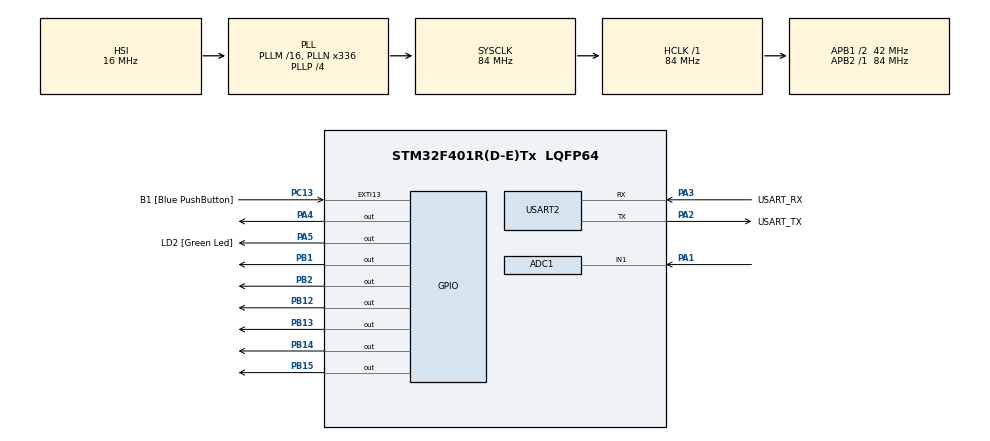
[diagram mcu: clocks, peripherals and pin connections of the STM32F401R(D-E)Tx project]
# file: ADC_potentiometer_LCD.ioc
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ADC1.Channel-0\#ChannelRegularConversion=ADC_CHANNEL_1
ADC1.DMAContinuousRequests=ENABLE
ADC1.ExternalTrigConv=ADC_EXTERNALTRIGCONV_T2_TRGO
ADC1.NbrOfConversionFlag=1
ADC1.Rank-0\#ChannelRegularConversion=1
ADC1.SamplingTime-0\#ChannelRegularConversion=ADC_SAMPLETIME_480CYCLES
ADC1.master=1
Dma.ADC1.0.Direction=DMA_PERIPH_TO_MEMORY
Dma.ADC1.0.FIFOMode=DMA_FIFOMODE_DISABLE
Dma.ADC1.0.Instance=DMA2_Stream0
Dma.ADC1.0.MemDataAlignment=DMA_MDATAALIGN_HALFWORD
Dma.ADC1.0.MemInc=DMA_MINC_ENABLE
Dma.ADC1.0.Mode=DMA_CIRCULAR
Dma.ADC1.0.PeriphDataAlignment=DMA_PDATAALIGN_HALFWORD
Dma.ADC1.0.PeriphInc=DMA_PINC_DISABLE
Dma.ADC1.0.Priority=DMA_PRIORITY_LOW
Dma.Request0=ADC1
Dma.Request1=USART2_TX
Dma.USART2_TX.1.Direction=DMA_MEMORY_TO_PERIPH
Dma.USART2_TX.1.FIFOMode=DMA_FIFOMODE_DISABLE
Dma.USART2_TX.1.Instance=DMA1_Stream6
Dma.USART2_TX.1.MemDataAlignment=DMA_MDATAALIGN_BYTE
Dma.USART2_TX.1.MemInc=DMA_MINC_ENABLE
Dma.USART2_TX.1.Mode=DMA_NORMAL
Dma.USART2_TX.1.PeriphDataAlignment=DMA_PDATAALIGN_BYTE
Dma.USART2_TX.1.PeriphInc=DMA_PINC_DISABLE
Dma.USART2_TX.1.Priority=DMA_PRIORITY_LOW
Mcu.Family=STM32F4
Mcu.Name=STM32F401R(D-E)Tx
Mcu.Package=LQFP64
NVIC.ADC_IRQn=true\:0\:0\:false\:false\:true\:true\:true\:true
NVIC.DMA1_Stream6_IRQn=true\:0\:0\:false\:false\:true\:false\:true\:true
NVIC.DMA2_Stream0_IRQn=true\:0\:0\:false\:false\:true\:false\:true\:true
NVIC.PriorityGroup=NVIC_PRIORITYGROUP_0
NVIC.USART2_IRQn=true\:0\:0\:false\:false\:true\:true\:true\:true
PA1.Signal=ADCx_IN1
PA13.GPIO_Label=TMS
PA13.Mode=Serial_Wire
PA13.Signal=SYS_JTMS-SWDIO
PA14.GPIO_Label=TCK
PA14.Mode=Serial_Wire
PA14.Signal=SYS_JTCK-SWCLK
PA2.GPIO_Label=USART_TX
PA2.GPIO_Mode=GPIO_MODE_AF_PP
PA2.GPIO_PuPd=GPIO_NOPULL
PA2.GPIO_Speed=GPIO_SPEED_FREQ_LOW
PA2.Mode=Asynchronous
PA2.Signal=USART2_TX
PA3.GPIO_Label=USART_RX
PA3.GPIO_Mode=GPIO_MODE_AF_PP
PA3.GPIO_PuPd=GPIO_NOPULL
PA3.GPIO_Speed=GPIO_SPEED_FREQ_LOW
PA3.Mode=Asynchronous
PA3.Signal=USART2_RX
PA4.Signal=GPIO_Output
PA5.GPIO_Label=LD2 [Green Led]
PA5.GPIO_Mode=GPIO_MODE_OUTPUT_PP
PA5.GPIO_PuPd=GPIO_NOPULL
PA5.GPIO_Speed=GPIO_SPEED_FREQ_LOW
PA5.Signal=GPIO_Output
PB1.Signal=GPIO_Output
PB12.Signal=GPIO_Output
PB13.Signal=GPIO_Output
PB14.Signal=GPIO_Output
PB15.Signal=GPIO_Output
PB2.Signal=GPIO_Output
PB3.GPIO_Label=SWO
PB3.Signal=SYS_JTDO-SWO
PC13-ANTI_TAMP.GPIO_Label=B1 [Blue PushButton]
PC13-ANTI_TAMP.GPIO_ModeDefaultEXTI=GPIO_MODE_IT_FALLING
PC13-ANTI_TAMP.GPIO_PuPd=GPIO_NOPULL
PC13-ANTI_TAMP.Signal=GPXTI13
PC14-OSC32_IN.Mode=LSE-External-Oscillator
PC14-OSC32_IN.Signal=RCC_OSC32_IN
PC15-OSC32_OUT.Mode=LSE-External-Oscillator
PC15-OSC32_OUT.Signal=RCC_OSC32_OUT
PH0\ -\ OSC_IN.Mode=HSE-External-Clock-Source
PH0\ -\ OSC_IN.Signal=RCC_OSC_IN
PH1\ -\ OSC_OUT.Mode=HSE-External-Clock-Source
PH1\ -\ OSC_OUT.Signal=RCC_OSC_OUT
ProjectManager.HeapSize=0x200
ProjectManager.StackSize=0x400
ProjectManager.TargetToolchain=STM32CubeIDE
RCC.48MHZClocksFreq_Value=48000000
RCC.AHBFreq_Value=84000000
RCC.APB1CLKDivider=RCC_HCLK_DIV2
RCC.APB1Freq_Value=42000000
RCC.APB1TimFreq_Value=84000000
RCC.APB2Freq_Value=84000000
RCC.APB2TimFreq_Value=84000000
RCC.CortexFreq_Value=84000000
RCC.HCLKFreq_Value=84000000
RCC.HSE_VALUE=8000000
RCC.HSI_VALUE=16000000
RCC.PLLN=336
RCC.PLLP=RCC_PLLP_DIV4
RCC.PLLQ=7
RCC.SYSCLKFreq_VALUE=84000000
RCC.SYSCLKSource=RCC_SYSCLKSOURCE_PLLCLK
RCC.VCOOutputFreq_Value=336000000
SH.ADCx_IN1.0=ADC1_IN1,IN1
TIM2.Period=(TEMPO*10) - 1
TIM2.Prescaler=8400 - 1
TIM2.TIM_MasterOutputTrigger=TIM_TRGO_UPDATE
USART2.VirtualMode=VM_ASYNC
VP_TIM2_VS_ClockSourceINT.Mode=Internal
board=NUCLEO-F401RE

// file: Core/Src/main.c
/* USER CODE BEGIN Header */
/**
  ******************************************************************************
  * @file           : main.c
  * @brief          : Main program body
  ******************************************************************************
  * @attention
  *
  * Copyright (c) 2024 STMicroelectronics.
  * All rights reserved.
  *
  * This software is licensed under terms that can be found in the LICENSE file
  * in the root directory of this software component.
  * If no LICENSE file comes with this software, it is provided AS-IS.
  *
  ******************************************************************************
  */
/* USER CODE END Header */
#include "main.h"

/* USER CODE BEGIN Includes */
#include "PMDB16_LCD.h"

/* USER CODE END Includes */

/* USER CODE BEGIN PD */
#define TEMPO 1000
/* USER CODE END PD */

ADC_HandleTypeDef hadc1;
DMA_HandleTypeDef hdma_adc1;

TIM_HandleTypeDef htim2;

UART_HandleTypeDef huart2;
DMA_HandleTypeDef hdma_usart2_tx;

/* USER CODE BEGIN PV */
uint16_t in1_data = 0; //Data coming from ADC of potentiometer
float voltage = 0;
char string[64] = {0};
char LCD_string[64] = {0};
int string_length = 0;
int LCD_string_length = 0;
int bars = 0; //the bar of the LCD

/* USER CODE END PV */

void SystemClock_Config(void);
static void MX_GPIO_Init(void);
static void MX_DMA_Init(void);
static void MX_USART2_UART_Init(void);
static void MX_ADC1_Init(void);
static void MX_TIM2_Init(void);

/* USER CODE BEGIN 0 */
HAL_ADC_ConvCpltCallback(ADC_HandleTypeDef *hadc)
{

	lcd_clear();

	voltage = in1_data*3.3/4096.0;

	string_length = snprintf(string, sizeof(string), "Voltage: %.3f\n", voltage);
	LCD_string_length = snprintf(LCD_string, sizeof(string), "Voltage: %.3f", voltage);

	HAL_UART_Transmit_DMA(&huart2, string, string_length);

	bars     = (in1_data*80/4096);
	lcd_println(LCD_string, 0);
	lcd_drawBar(bars);

}
/* USER CODE END 0 */

int main(void)
{

  /* MCU Configuration--------------------------------------------------------*/

  /* Reset of all peripherals, Initializes the Flash interface and the Systick. */
  HAL_Init();

  /* Configure the system clock */
  SystemClock_Config();

  /* Initialize all configured peripherals */
  MX_GPIO_Init();
  MX_DMA_Init();
  MX_USART2_UART_Init();
  MX_ADC1_Init();
  MX_TIM2_Init();
  /* USER CODE BEGIN 2 */

  lcd_initialize();
  lcd_backlight_ON ();

  HAL_ADC_Start_DMA(&hadc1, &in1_data, 1);

  HAL_TIM_Base_Start(&htim2);

  /* USER CODE END 2 */

  /* Infinite loop */
  while (1)
  {

  }
}

void SystemClock_Config(void)
{
  RCC_OscInitTypeDef RCC_OscInitStruct = {0};
  RCC_ClkInitTypeDef RCC_ClkInitStruct = {0};

  /** Configure the main internal regulator output voltage
  */
  __HAL_RCC_PWR_CLK_ENABLE();
  __HAL_PWR_VOLTAGESCALING_CONFIG(PWR_REGULATOR_VOLTAGE_SCALE2);

  /** Initializes the RCC Oscillators according to the specified parameters
  * in the RCC_OscInitTypeDef structure.
  */
  RCC_OscInitStruct.OscillatorType = RCC_OSCILLATORTYPE_HSI;
  RCC_OscInitStruct.HSIState = RCC_HSI_ON;
  RCC_OscInitStruct.HSICalibrationValue = RCC_HSICALIBRATION_DEFAULT;
  RCC_OscInitStruct.PLL.PLLState = RCC_PLL_ON;
  RCC_OscInitStruct.PLL.PLLSource = RCC_PLLSOURCE_HSI;
  RCC_OscInitStruct.PLL.PLLM = 16;
  RCC_OscInitStruct.PLL.PLLN = 336;
  RCC_OscInitStruct.PLL.PLLP = RCC_PLLP_DIV4;
  RCC_OscInitStruct.PLL.PLLQ = 7;
  if (HAL_RCC_OscConfig(&RCC_OscInitStruct) != HAL_OK)
  {
    Error_Handler();
  }

  /** Initializes the CPU, AHB and APB buses clocks
  */
  RCC_ClkInitStruct.ClockType = RCC_CLOCKTYPE_HCLK|RCC_CLOCKTYPE_SYSCLK
                              |RCC_CLOCKTYPE_PCLK1|RCC_CLOCKTYPE_PCLK2;
  RCC_ClkInitStruct.SYSCLKSource = RCC_SYSCLKSOURCE_PLLCLK;
  RCC_ClkInitStruct.AHBCLKDivider = RCC_SYSCLK_DIV1;
  RCC_ClkInitStruct.APB1CLKDivider = RCC_HCLK_DIV2;
  RCC_ClkInitStruct.APB2CLKDivider = RCC_HCLK_DIV1;

  if (HAL_RCC_ClockConfig(&RCC_ClkInitStruct, FLASH_LATENCY_2) != HAL_OK)
  {
    Error_Handler();
  }
}

static void MX_ADC1_Init(void)
{

  ADC_ChannelConfTypeDef sConfig = {0};

  /** Configure the global features of the ADC (Clock, Resolution, Data Alignment and number of conversion)
  */
  hadc1.Instance = ADC1;
  hadc1.Init.ClockPrescaler = ADC_CLOCK_SYNC_PCLK_DIV4;
  hadc1.Init.Resolution = ADC_RESOLUTION_12B;
  hadc1.Init.ScanConvMode = DISABLE;
  hadc1.Init.ContinuousConvMode = DISABLE;
  hadc1.Init.DiscontinuousConvMode = DISABLE;
  hadc1.Init.ExternalTrigConvEdge = ADC_EXTERNALTRIGCONVEDGE_RISING;
  hadc1.Init.ExternalTrigConv = ADC_EXTERNALTRIGCONV_T2_TRGO;
  hadc1.Init.DataAlign = ADC_DATAALIGN_RIGHT;
  hadc1.Init.NbrOfConversion = 1;
  hadc1.Init.DMAContinuousRequests = ENABLE;
  hadc1.Init.EOCSelection = ADC_EOC_SINGLE_CONV;
  if (HAL_ADC_Init(&hadc1) != HAL_OK)
  {
    Error_Handler();
  }

  /** Configure for the selected ADC regular channel its corresponding rank in the sequencer and its sample time.
  */
  sConfig.Channel = ADC_CHANNEL_1;
  sConfig.Rank = 1;
  sConfig.SamplingTime = ADC_SAMPLETIME_480CYCLES;
  if (HAL_ADC_ConfigChannel(&hadc1, &sConfig) != HAL_OK)
  {
    Error_Handler();
  }

}

static void MX_TIM2_Init(void)
{

  TIM_ClockConfigTypeDef sClockSourceConfig = {0};
  TIM_MasterConfigTypeDef sMasterConfig = {0};

  htim2.Instance = TIM2;
  htim2.Init.Prescaler = 8400 - 1;
  htim2.Init.CounterMode = TIM_COUNTERMODE_UP;
  htim2.Init.Period = (TEMPO*10) - 1;
  htim2.Init.ClockDivision = TIM_CLOCKDIVISION_DIV1;
  htim2.Init.AutoReloadPreload = TIM_AUTORELOAD_PRELOAD_DISABLE;
  if (HAL_TIM_Base_Init(&htim2) != HAL_OK)
  {
    Error_Handler();
  }
  sClockSourceConfig.ClockSource = TIM_CLOCKSOURCE_INTERNAL;
  if (HAL_TIM_ConfigClockSource(&htim2, &sClockSourceConfig) != HAL_OK)
  {
    Error_Handler();
  }
  sMasterConfig.MasterOutputTrigger = TIM_TRGO_UPDATE;
  sMasterConfig.MasterSlaveMode = TIM_MASTERSLAVEMODE_DISABLE;
  if (HAL_TIMEx_MasterConfigSynchronization(&htim2, &sMasterConfig) != HAL_OK)
  {
    Error_Handler();
  }

}

static void MX_USART2_UART_Init(void)
{

  huart2.Instance = USART2;
  huart2.Init.BaudRate = 115200;
  huart2.Init.WordLength = UART_WORDLENGTH_8B;
  huart2.Init.StopBits = UART_STOPBITS_1;
  huart2.Init.Parity = UART_PARITY_NONE;
  huart2.Init.Mode = UART_MODE_TX_RX;
  huart2.Init.HwFlowCtl = UART_HWCONTROL_NONE;
  huart2.Init.OverSampling = UART_OVERSAMPLING_16;
  if (HAL_UART_Init(&huart2) != HAL_OK)
  {
    Error_Handler();
  }

}

static void MX_DMA_Init(void)
{

  /* DMA controller clock enable */
  __HAL_RCC_DMA2_CLK_ENABLE();
  __HAL_RCC_DMA1_CLK_ENABLE();

  /* DMA interrupt init */
  /* DMA1_Stream6_IRQn interrupt configuration */
  HAL_NVIC_SetPriority(DMA1_Stream6_IRQn, 0, 0);
  HAL_NVIC_EnableIRQ(DMA1_Stream6_IRQn);
  /* DMA2_Stream0_IRQn interrupt configuration */
  HAL_NVIC_SetPriority(DMA2_Stream0_IRQn, 0, 0);
  HAL_NVIC_EnableIRQ(DMA2_Stream0_IRQn);

}

static void MX_GPIO_Init(void)
{
  GPIO_InitTypeDef GPIO_InitStruct = {0};

  /* GPIO Ports Clock Enable */
  __HAL_RCC_GPIOC_CLK_ENABLE();
  __HAL_RCC_GPIOH_CLK_ENABLE();
  __HAL_RCC_GPIOA_CLK_ENABLE();
  __HAL_RCC_GPIOB_CLK_ENABLE();

  /*Configure GPIO pin Output Level */
  HAL_GPIO_WritePin(GPIOA, GPIO_PIN_4|LD2_Pin, GPIO_PIN_RESET);

  /*Configure GPIO pin Output Level */
  HAL_GPIO_WritePin(GPIOB, GPIO_PIN_1|GPIO_PIN_2|GPIO_PIN_12|GPIO_PIN_13
                          |GPIO_PIN_14|GPIO_PIN_15, GPIO_PIN_RESET);

  /*Configure GPIO pin : B1_Pin */
  GPIO_InitStruct.Pin = B1_Pin;
  GPIO_InitStruct.Mode = GPIO_MODE_IT_FALLING;
  GPIO_InitStruct.Pull = GPIO_NOPULL;
  HAL_GPIO_Init(B1_GPIO_Port, &GPIO_InitStruct);

  /*Configure GPIO pins : PA4 LD2_Pin */
  GPIO_InitStruct.Pin = GPIO_PIN_4|LD2_Pin;
  GPIO_InitStruct.Mode = GPIO_MODE_OUTPUT_PP;
  GPIO_InitStruct.Pull = GPIO_NOPULL;
  GPIO_InitStruct.Speed = GPIO_SPEED_FREQ_LOW;
  HAL_GPIO_Init(GPIOA, &GPIO_InitStruct);

  /*Configure GPIO pins : PB1 PB2 PB12 PB13
                           PB14 PB15 */
  GPIO_InitStruct.Pin = GPIO_PIN_1|GPIO_PIN_2|GPIO_PIN_12|GPIO_PIN_13
                          |GPIO_PIN_14|GPIO_PIN_15;
  GPIO_InitStruct.Mode = GPIO_MODE_OUTPUT_PP;
  GPIO_InitStruct.Pull = GPIO_NOPULL;
  GPIO_InitStruct.Speed = GPIO_SPEED_FREQ_LOW;
  HAL_GPIO_Init(GPIOB, &GPIO_InitStruct);

}

void Error_Handler(void)
{
  __disable_irq();
  while (1)
  {
  }
}
